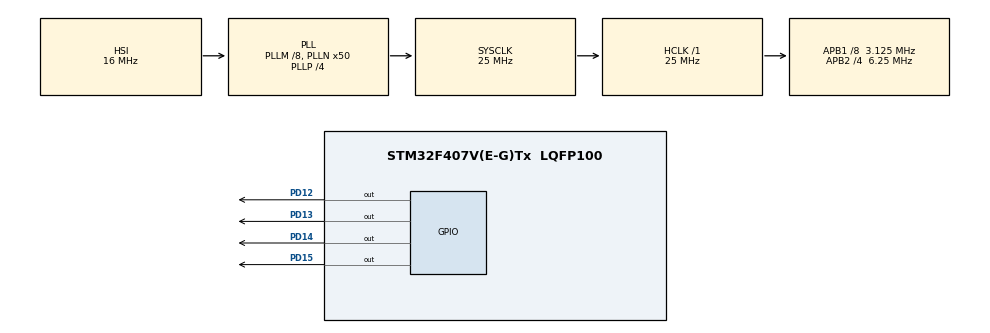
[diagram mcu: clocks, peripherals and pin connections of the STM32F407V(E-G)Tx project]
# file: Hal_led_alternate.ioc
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Mcu.Family=STM32F4
Mcu.Name=STM32F407V(E-G)Tx
Mcu.Package=LQFP100
NVIC.PriorityGroup=NVIC_PRIORITYGROUP_0
PD12.Signal=GPIO_Output
PD13.Signal=GPIO_Output
PD14.Signal=GPIO_Output
PD15.Signal=GPIO_Output
ProjectManager.HeapSize=0x200
ProjectManager.StackSize=0x400
ProjectManager.TargetToolchain=STM32CubeIDE
RCC.48MHZClocksFreq_Value=14285714.285714285
RCC.AHBFreq_Value=25000000
RCC.APB1CLKDivider=RCC_HCLK_DIV8
RCC.APB1Freq_Value=3125000
RCC.APB1TimFreq_Value=6250000
RCC.APB2CLKDivider=RCC_HCLK_DIV4
RCC.APB2Freq_Value=6250000
RCC.APB2TimFreq_Value=12500000
RCC.CortexFreq_Value=25000000
RCC.HCLKFreq_Value=25000000
RCC.HSE_VALUE=8000000
RCC.HSI_VALUE=16000000
RCC.PLLM=8
RCC.PLLN=50
RCC.PLLP=RCC_PLLP_DIV4
RCC.PLLQ=7
RCC.SYSCLKFreq_VALUE=25000000
RCC.SYSCLKSource=RCC_SYSCLKSOURCE_PLLCLK
RCC.VCOOutputFreq_Value=100000000
board=STM32F407G-DISC1

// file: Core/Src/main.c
/* USER CODE BEGIN Header */
/**
  ******************************************************************************
  * @file           : main.c
  * @brief          : Main program body
  ******************************************************************************
  * @attention
  *
  * Copyright (c) 2025 STMicroelectronics.
  * All rights reserved.
  *
  * This software is licensed under terms that can be found in the LICENSE file
  * in the root directory of this software component.
  * If no LICENSE file comes with this software, it is provided AS-IS.
  *
  ******************************************************************************
  */
/* USER CODE END Header */
#include "main.h"

void SystemClock_Config(void);
static void MX_GPIO_Init(void);

int main(void)
{

  /* MCU Configuration--------------------------------------------------------*/

  /* Reset of all peripherals, Initializes the Flash interface and the Systick. */
  HAL_Init();

  /* Configure the system clock */
  SystemClock_Config();

  /* Initialize all configured peripherals */
  MX_GPIO_Init();

  /* Infinite loop */
  while (1)
  {

    /* USER CODE BEGIN 3 */
	  void led_on();
	 	  HAL_GPIO_TogglePin(GPIOD, GPIO_PIN_12);
	 	  HAL_GPIO_TogglePin(GPIOD, GPIO_PIN_14);
	 	  HAL_Delay(1000);

	 	 void led_off();
	 	 	 	  HAL_GPIO_TogglePin(GPIOD, GPIO_PIN_12);
	 	 	 	  HAL_GPIO_TogglePin(GPIOD, GPIO_PIN_14);
	 	 	 	  HAL_Delay(1000);

	 	  void led_on();
	 	  HAL_GPIO_TogglePin(GPIOD, GPIO_PIN_13);
          HAL_GPIO_TogglePin(GPIOD, GPIO_PIN_15);
	 	  HAL_Delay(1000);

	 	 void led_off();
	 	 	 	  HAL_GPIO_TogglePin(GPIOD, GPIO_PIN_13);
	 	           HAL_GPIO_TogglePin(GPIOD, GPIO_PIN_15);
	 	 	 	  HAL_Delay(1000);

  }
  /* USER CODE END 3 */
}

void SystemClock_Config(void)
{
  RCC_OscInitTypeDef RCC_OscInitStruct = {0};
  RCC_ClkInitTypeDef RCC_ClkInitStruct = {0};

  /** Configure the main internal regulator output voltage
  */
  __HAL_RCC_PWR_CLK_ENABLE();
  __HAL_PWR_VOLTAGESCALING_CONFIG(PWR_REGULATOR_VOLTAGE_SCALE1);

  /** Initializes the RCC Oscillators according to the specified parameters
  * in the RCC_OscInitTypeDef structure.
  */
  RCC_OscInitStruct.OscillatorType = RCC_OSCILLATORTYPE_HSI;
  RCC_OscInitStruct.HSIState = RCC_HSI_ON;
  RCC_OscInitStruct.HSICalibrationValue = RCC_HSICALIBRATION_DEFAULT;
  RCC_OscInitStruct.PLL.PLLState = RCC_PLL_ON;
  RCC_OscInitStruct.PLL.PLLSource = RCC_PLLSOURCE_HSI;
  RCC_OscInitStruct.PLL.PLLM = 8;
  RCC_OscInitStruct.PLL.PLLN = 50;
  RCC_OscInitStruct.PLL.PLLP = RCC_PLLP_DIV4;
  RCC_OscInitStruct.PLL.PLLQ = 7;
  if (HAL_RCC_OscConfig(&RCC_OscInitStruct) != HAL_OK)
  {
    Error_Handler();
  }

  /** Initializes the CPU, AHB and APB buses clocks
  */
  RCC_ClkInitStruct.ClockType = RCC_CLOCKTYPE_HCLK|RCC_CLOCKTYPE_SYSCLK
                              |RCC_CLOCKTYPE_PCLK1|RCC_CLOCKTYPE_PCLK2;
  RCC_ClkInitStruct.SYSCLKSource = RCC_SYSCLKSOURCE_PLLCLK;
  RCC_ClkInitStruct.AHBCLKDivider = RCC_SYSCLK_DIV1;
  RCC_ClkInitStruct.APB1CLKDivider = RCC_HCLK_DIV8;
  RCC_ClkInitStruct.APB2CLKDivider = RCC_HCLK_DIV4;

  if (HAL_RCC_ClockConfig(&RCC_ClkInitStruct, FLASH_LATENCY_0) != HAL_OK)
  {
    Error_Handler();
  }
}

static void MX_GPIO_Init(void)
{
  GPIO_InitTypeDef GPIO_InitStruct = {0};

  /* GPIO Ports Clock Enable */
  __HAL_RCC_GPIOD_CLK_ENABLE();

  /*Configure GPIO pin Output Level */
  HAL_GPIO_WritePin(GPIOD, GPIO_PIN_12|GPIO_PIN_13|GPIO_PIN_14|GPIO_PIN_15, GPIO_PIN_RESET);

  /*Configure GPIO pins : PD12 PD13 PD14 PD15 */
  GPIO_InitStruct.Pin = GPIO_PIN_12|GPIO_PIN_13|GPIO_PIN_14|GPIO_PIN_15;
  GPIO_InitStruct.Mode = GPIO_MODE_OUTPUT_PP;
  GPIO_InitStruct.Pull = GPIO_NOPULL;
  GPIO_InitStruct.Speed = GPIO_SPEED_FREQ_LOW;
  HAL_GPIO_Init(GPIOD, &GPIO_InitStruct);

}

void Error_Handler(void)
{
  __disable_irq();
  while (1)
  {
  }
}
